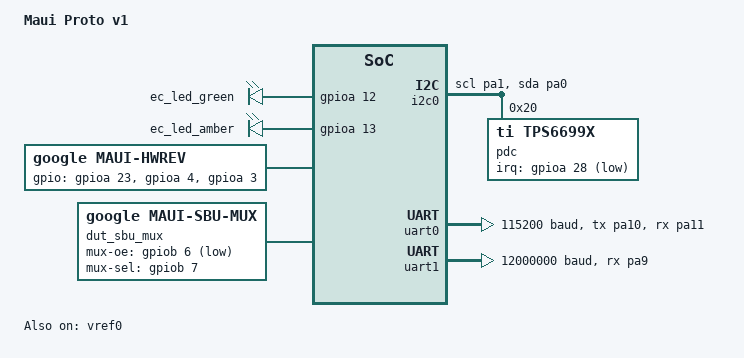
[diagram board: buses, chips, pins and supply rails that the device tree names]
/* Copyright 2025 The ChromiumOS Authors
 * Use of this source code is governed by a BSD-style license that can be
 * found in the LICENSE file.
 */

/dts-v1/;

#include <ti/mspm0/g/mspm0g3507.dtsi>
#include <ti/mspm0/g/mspm0g1x0x_g3x0x-pinctrl.dtsi>

#include <zephyr/dt-bindings/clock/mspm0_clock.h>
#include <zephyr/dt-bindings/gpio/gpio.h>
#include <zephyr/dt-bindings/input/input-event-codes.h>

#include "adc.dtsi"
#include "gpio.dtsi"

/ {
	model = "Maui Proto v1";
	compatible = "ti,mspm0g3507";

	chosen {
		zephyr,sram = &sram0;
		zephyr,flash = &flash0;
		zephyr,console = &uart0;
		zephyr,shell-uart = &uart0;
	};

	leds: leds {
		compatible = "gpio-leds";

		ec_led_green: ec_led_green {
			gpios = <&gpioa 12 GPIO_ACTIVE_HIGH>;
		};
		ec_led_amber: ec_led_amber {
			gpios = <&gpioa 13 GPIO_ACTIVE_HIGH>;
		};
	};

	hwrev {
		compatible = "google,maui-hwrev";
		gpios = <&gpioa 23 GPIO_ACTIVE_HIGH>,
				<&gpioa 4 GPIO_ACTIVE_HIGH>,
				<&gpioa 3 GPIO_ACTIVE_HIGH>;
	};

	dut_sbu_mux: dut-sbu-mux {
		compatible = "google,maui-sbu-mux";
		status = "okay";

		pdc = <&pdc>;
		mux-oe-gpios = <&gpiob 6 GPIO_ACTIVE_LOW>;
		mux-sel-gpios = <&gpiob 7 GPIO_ACTIVE_HIGH>;
	};
};

&cpu0 {
	clock-frequency = <DT_FREQ_M(80)>;
};

&ulpclk {
	clock-frequency = <DT_FREQ_M(40)>;
	clk-div = <2>;
};

&mclk {
	clock-frequency = <DT_FREQ_M(80)>;
	clocks = <&hsclk 0>;
};

&hsclk {
	clocks = <&syspll2x 0>;
	status = "okay";
};

&syspll2x {
	status = "okay";
};

&flash0 {
	status = "okay";
};

&pinctrl {
	status = "okay";
};

&gpioa {
	status = "okay";
};

&gpiob {
	status = "okay";
};

&i2c0 {
	pinctrl-0 = <&i2c0_scl_pa1 &i2c0_sda_pa0>;
	pinctrl-names = "default";
	status = "okay";

	pdc: tps6699x@20 {
		compatible = "ti,tps6699x";
		reg = <0x20>;
		irq-gpios = <&gpioa 28 (GPIO_PULL_UP | GPIO_ACTIVE_LOW)>;
	};
};

&uart0 {
	status = "okay";

	current-speed = <115200>;
	pinctrl-0 = <&uart0_tx_pa10 &uart0_rx_pa11>;
	pinctrl-names = "default";
};

&uart1 {
	status = "okay";
	current-speed = <12000000>;
	pinctrl-0 = <&uart1_rx_pa9>;
	pinctrl-names = "default";
};

&vref0 {
	status = "okay";
};
